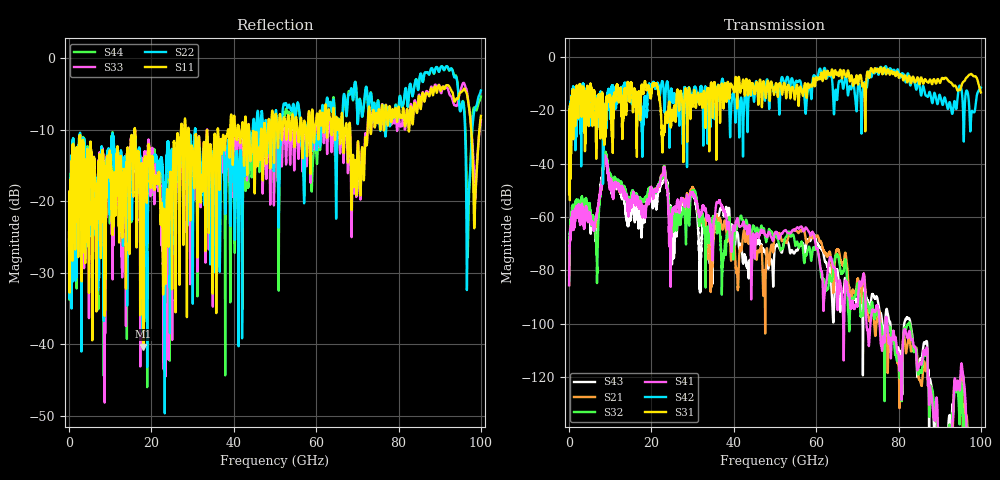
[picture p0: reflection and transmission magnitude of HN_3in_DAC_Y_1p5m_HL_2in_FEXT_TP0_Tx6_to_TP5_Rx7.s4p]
# GHz S RI R 45
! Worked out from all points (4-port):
!   4000 points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, 25 MHz to 100 GHz, reference 45 ohm
!   strongest paths, dB at 25 MHz, 25.02 GHz, 50.02 GHz, 75.03 GHz, 100 GHz:
!     S31: -51.3, -20.2, -11.3, -4.7, -13.4
!     S42: -50.1, -13.8, -13.1, -6.4, -11.5
!     S41: -85.6, -58.5, -65.8, -93.9, -176.1
!     S32: -83.9, -60.6, -67.0, -96.1, -183.4
!     S21: -85.5, -60.3, -65.7, -96.1, -178.9
!     S43: -81.8, -72.8, -71.3, -91.7, -178.9
!   lowest |S11| = -40.3 dB at 18.05 GHz (marker M1), VSWR 1.02, Z = 45.4 + j0.797 ohm
!   |S11| at or under -10 dB: start of sweep to 15.96 GHz; 16.03 GHz to 27.19 GHz (11.16 GHz wide, 51.6 % of centre); 29.06 GHz to 36.11 GHz (7.046 GHz wide, 21.6 % of centre)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
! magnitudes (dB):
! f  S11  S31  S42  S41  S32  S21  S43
! 25 MHz  -24.4  -51.3  -50.1  -85.6  -83.9  -85.5  -81.8
! 2.25 GHz  -27.8  -23.0  -19.0  -56.9  -54.3  -55.6  -54.9
! 6.725 GHz  -21.8  -21.8  -15.6  -58.9  -76.1  -62.2  -64.6
! 8.775 GHz  -35.3  -26.5  -19.4  -37.6  -36.1  -36.9  -36.3
! 18.05 GHz  -40.3  -13.8  -21.1  -56.2  -53.6  -56.2  -57.4
! 23.25 GHz  -21.9  -27.1  -21.1  -42.1  -41.7  -41.6  -41.6
! 100 GHz  -8.1  -13.4  -11.5  -176.1  -183.4  -178.9  -178.9
